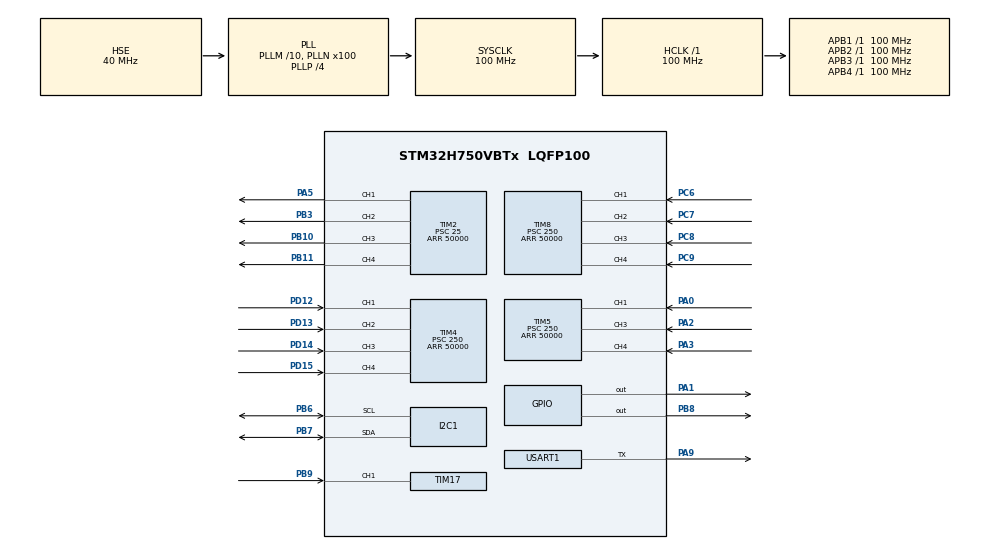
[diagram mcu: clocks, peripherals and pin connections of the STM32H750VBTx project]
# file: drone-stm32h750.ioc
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Dma.I2C1_RX.0.Direction=DMA_PERIPH_TO_MEMORY
Dma.I2C1_RX.0.EventEnable=DISABLE
Dma.I2C1_RX.0.FIFOMode=DMA_FIFOMODE_DISABLE
Dma.I2C1_RX.0.Instance=DMA1_Stream4
Dma.I2C1_RX.0.MemDataAlignment=DMA_MDATAALIGN_BYTE
Dma.I2C1_RX.0.MemInc=DMA_MINC_ENABLE
Dma.I2C1_RX.0.Mode=DMA_NORMAL
Dma.I2C1_RX.0.PeriphDataAlignment=DMA_PDATAALIGN_BYTE
Dma.I2C1_RX.0.PeriphInc=DMA_PINC_DISABLE
Dma.I2C1_RX.0.Polarity=HAL_DMAMUX_REQ_GEN_RISING
Dma.I2C1_RX.0.Priority=DMA_PRIORITY_LOW
Dma.I2C1_RX.0.RequestNumber=1
Dma.I2C1_RX.0.SignalID=NONE
Dma.I2C1_RX.0.SyncEnable=DISABLE
Dma.I2C1_RX.0.SyncPolarity=HAL_DMAMUX_SYNC_NO_EVENT
Dma.I2C1_RX.0.SyncRequestNumber=1
Dma.I2C1_RX.0.SyncSignalID=NONE
Dma.Request0=I2C1_RX
I2C1.Timing=0x10C0ECFF
Mcu.Family=STM32H7
Mcu.Name=STM32H750VBTx
Mcu.Package=LQFP100
NVIC.DMA1_Stream4_IRQn=true\:0\:0\:false\:false\:true\:false\:true\:true
NVIC.I2C1_EV_IRQn=true\:0\:0\:false\:false\:true\:true\:true\:true
NVIC.PriorityGroup=NVIC_PRIORITYGROUP_4
NVIC.TIM17_IRQn=true\:0\:0\:false\:false\:true\:true\:true\:true
NVIC.TIM4_IRQn=true\:1\:0\:true\:false\:true\:true\:true\:true
NVIC.TIM5_IRQn=true\:1\:0\:true\:false\:true\:true\:true\:true
NVIC.TIM6_DAC_IRQn=true\:0\:0\:false\:false\:true\:true\:true\:true
NVIC.TIM7_IRQn=true\:2\:0\:true\:false\:true\:true\:true\:true
NVIC.TIM8_CC_IRQn=true\:0\:0\:false\:false\:true\:true\:true\:true
NVIC.USART1_IRQn=true\:15\:0\:true\:false\:true\:true\:true\:true
PA0.GPIO_Speed=GPIO_SPEED_FREQ_LOW
PA0.Signal=S_TIM5_CH1
PA1.Signal=GPIO_Output
PA2.Signal=S_TIM5_CH3
PA3.Signal=S_TIM5_CH4
PA5.Signal=S_TIM2_CH1_ETR
PA9.Mode=Half_duplex(single_wire_mode)
PA9.Signal=USART1_TX
PB10.Signal=S_TIM2_CH3
PB11.Signal=S_TIM2_CH4
PB3\ (JTDO/TRACESWO).Signal=S_TIM2_CH2
PB6.Mode=I2C
PB6.Signal=I2C1_SCL
PB7.Mode=I2C
PB7.Signal=I2C1_SDA
PB8.Signal=GPIO_Output
PB9.Signal=S_TIM17_CH1
PC6.Signal=S_TIM8_CH1
PC7.Signal=S_TIM8_CH2
PC8.Signal=S_TIM8_CH3
PC9.Signal=S_TIM8_CH4
PD12.GPIO_Speed=GPIO_SPEED_FREQ_LOW
PD12.Signal=S_TIM4_CH1
PD13.GPIO_Speed=GPIO_SPEED_FREQ_LOW
PD13.Signal=S_TIM4_CH2
PD14.GPIO_Speed=GPIO_SPEED_FREQ_LOW
PD14.Signal=S_TIM4_CH3
PD15.GPIO_Speed=GPIO_SPEED_FREQ_LOW
PD15.Signal=S_TIM4_CH4
PH0-OSC_IN\ (PH0).Mode=HSE-External-Oscillator
PH0-OSC_IN\ (PH0).Signal=RCC_OSC_IN
PH1-OSC_OUT\ (PH1).Mode=HSE-External-Oscillator
PH1-OSC_OUT\ (PH1).Signal=RCC_OSC_OUT
ProjectManager.HeapSize=0x200
ProjectManager.StackSize=0x400
ProjectManager.TargetToolchain=STM32CubeIDE
RCC.ADCFreq_Value=200000000
RCC.APB1Freq_Value=100000000
RCC.APB2Freq_Value=100000000
RCC.APB3Freq_Value=100000000
RCC.APB4Freq_Value=100000000
RCC.CortexFreq_Value=100000000
RCC.DIVM1=10
RCC.DIVM2=10
RCC.DIVM3=10
RCC.DIVN1=100
RCC.DIVN2=100
RCC.DIVN3=100
RCC.DIVP1=4
RCC.HCLKFreq_Value=100000000
RCC.HSE_VALUE=40000000
RCC.PLL1_VCO_SEL-AdvancedSettings=RCC_PLL1VCOMEDIUM
RCC.PLLSourceVirtual=RCC_PLLSOURCE_HSE
RCC.PWR_Regulator_Voltage_Scale=PWR_REGULATOR_VOLTAGE_SCALE1
RCC.SYSCLKFreq_VALUE=100000000
RCC.SYSCLKSource=RCC_SYSCLKSOURCE_PLLCLK
RCC.Tim1Mul=1
RCC.Tim2Mul=1
RCC.USART16CLockSelection=RCC_USART16CLKSOURCE_HSI
RCC.USART234578CLockSelection=RCC_USART234578CLKSOURCE_HSI
RCC.USBFreq_Value=200000000
SH.S_TIM17_CH1.0=TIM17_CH1,Input_Capture1_from_TI1
SH.S_TIM2_CH1_ETR.0=TIM2_CH1,PWM Generation1 CH1
SH.S_TIM2_CH2.0=TIM2_CH2,PWM Generation2 CH2
SH.S_TIM2_CH3.0=TIM2_CH3,PWM Generation3 CH3
SH.S_TIM2_CH4.0=TIM2_CH4,PWM Generation4 CH4
SH.S_TIM4_CH1.0=TIM4_CH1,Input_Capture1_from_TI1
SH.S_TIM4_CH2.0=TIM4_CH2,Input_Capture2_from_TI2
SH.S_TIM4_CH3.0=TIM4_CH3,Input_Capture3_from_TI3
SH.S_TIM4_CH4.0=TIM4_CH4,Input_Capture4_from_TI4
SH.S_TIM5_CH1.0=TIM5_CH1,Input_Capture1_from_TI1
SH.S_TIM5_CH3.0=TIM5_CH3,Input_Capture3_from_TI3
SH.S_TIM5_CH4.0=TIM5_CH4,Input_Capture4_from_TI4
SH.S_TIM8_CH1.0=TIM8_CH1,Input_Capture1_from_TI1
SH.S_TIM8_CH2.0=TIM8_CH2,Input_Capture2_from_TI2
SH.S_TIM8_CH3.0=TIM8_CH3,Input_Capture3_from_TI3
SH.S_TIM8_CH4.0=TIM8_CH4,Input_Capture4_from_TI4
TIM17.Channel=TIM_CHANNEL_1
TIM17.ICPolarity_CH1=TIM_INPUTCHANNELPOLARITY_BOTHEDGE
TIM17.Period=50000
TIM17.Prescaler=250
TIM2.Channel-PWM\ Generation1\ CH1=TIM_CHANNEL_1
TIM2.Channel-PWM\ Generation2\ CH2=TIM_CHANNEL_2
TIM2.Channel-PWM\ Generation3\ CH3=TIM_CHANNEL_3
TIM2.Channel-PWM\ Generation4\ CH4=TIM_CHANNEL_4
TIM2.Period=50000
TIM2.Prescaler=25
TIM4.Channel-Input_Capture1_from_TI1=TIM_CHANNEL_1
TIM4.Channel-Input_Capture2_from_TI2=TIM_CHANNEL_2
TIM4.Channel-Input_Capture3_from_TI3=TIM_CHANNEL_3
TIM4.Channel-Input_Capture4_from_TI4=TIM_CHANNEL_4
TIM4.ICPolarity_CH1=TIM_INPUTCHANNELPOLARITY_BOTHEDGE
TIM4.ICPolarity_CH2=TIM_INPUTCHANNELPOLARITY_BOTHEDGE
TIM4.ICPolarity_CH3=TIM_INPUTCHANNELPOLARITY_BOTHEDGE
TIM4.ICPolarity_CH4=TIM_INPUTCHANNELPOLARITY_BOTHEDGE
TIM4.Period=50000
TIM4.Prescaler=250
TIM5.Channel-Input_Capture1_from_TI1=TIM_CHANNEL_1
TIM5.Channel-Input_Capture3_from_TI3=TIM_CHANNEL_3
TIM5.Channel-Input_Capture4_from_TI4=TIM_CHANNEL_4
TIM5.ICPolarity_CH1=TIM_INPUTCHANNELPOLARITY_BOTHEDGE
TIM5.ICPolarity_CH3=TIM_INPUTCHANNELPOLARITY_BOTHEDGE
TIM5.ICPolarity_CH4=TIM_INPUTCHANNELPOLARITY_BOTHEDGE
TIM5.Period=50000
TIM5.Prescaler=250
TIM6.Period=1000
TIM6.Prescaler=250
TIM7.Period=5000
TIM7.Prescaler=1000
TIM8.Channel-Input_Capture1_from_TI1=TIM_CHANNEL_1
TIM8.Channel-Input_Capture2_from_TI2=TIM_CHANNEL_2
TIM8.Channel-Input_Capture3_from_TI3=TIM_CHANNEL_3
TIM8.Channel-Input_Capture4_from_TI4=TIM_CHANNEL_4
TIM8.ICPolarity_CH1=TIM_INPUTCHANNELPOLARITY_BOTHEDGE
TIM8.ICPolarity_CH2=TIM_INPUTCHANNELPOLARITY_BOTHEDGE
TIM8.ICPolarity_CH3=TIM_INPUTCHANNELPOLARITY_BOTHEDGE
TIM8.ICPolarity_CH4=TIM_INPUTCHANNELPOLARITY_BOTHEDGE
TIM8.Period=50000
TIM8.Prescaler=250
USART1.BaudRate=9600
USART1.Mode=MODE_TX
USART1.OverSampling=UART_OVERSAMPLING_16
USART1.VirtualMode-Half_duplex(single_wire_mode)=VM_ASYNC
VP_TIM17_VS_ClockSourceINT.Mode=Enable_Timer
VP_TIM2_VS_ClockSourceINT.Mode=Internal
VP_TIM4_VS_ClockSourceINT.Mode=Internal
VP_TIM5_VS_ClockSourceINT.Mode=Internal
VP_TIM6_VS_ClockSourceINT.Mode=Enable_Timer
VP_TIM7_VS_ClockSourceINT.Mode=Enable_Timer
VP_TIM8_VS_ClockSourceINT.Mode=Internal
board=custom

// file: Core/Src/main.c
/* USER CODE BEGIN Header */
/**
  ******************************************************************************
  * @file           : main.c
  * @brief          : Main program body
  ******************************************************************************
  * @attention
  *
  * <h2><center>&copy; Copyright (c) 2022 STMicroelectronics.
  * All rights reserved.</center></h2>
  *
  * This software component is licensed by ST under BSD 3-Clause license,
  * the "License"; You may not use this file except in compliance with the
  * License. You may obtain a copy of the License at:
  *                        opensource.org/licenses/BSD-3-Clause
  *
  ******************************************************************************
  */
/* USER CODE END Header */
#include "main.h"
/* USER CODE BEGIN Includes */
#include <stdio.h>
#include <storage.h>
#include <string.h>
#include "kalman.h"
#include "gy86.h"

/* USER CODE END Includes */

I2C_HandleTypeDef hi2c1;
DMA_HandleTypeDef hdma_i2c1_rx;

TIM_HandleTypeDef htim2;
TIM_HandleTypeDef htim4;
TIM_HandleTypeDef htim5;
TIM_HandleTypeDef htim6;
TIM_HandleTypeDef htim7;
TIM_HandleTypeDef htim8;
TIM_HandleTypeDef htim17;

UART_HandleTypeDef huart1;

void SystemClock_Config(void);
static void MX_GPIO_Init(void);
static void MX_I2C1_Init(void);
static void MX_USART1_UART_Init(void);
static void MX_TIM6_Init(void);
static void MX_TIM2_Init(void);
static void MX_TIM4_Init(void);
static void MX_TIM5_Init(void);
static void MX_TIM7_Init(void);
static void MX_DMA_Init(void);
static void MX_TIM17_Init(void);
static void MX_TIM8_Init(void);

/* USER CODE BEGIN 0 */

void flash(uint8_t count) {
  for (int i = 0; i < count; i++) {
    HAL_GPIO_TogglePin(GPIOA, GPIO_PIN_1);
    HAL_Delay(50);
    HAL_GPIO_TogglePin(GPIOA, GPIO_PIN_1);
    HAL_Delay(50);
  }

  HAL_Delay(100);
}

extern void init_filters();
extern void init_sensors();

/* USER CODE END 0 */

int main(void)
{

  /* MCU Configuration--------------------------------------------------------*/

  /* Reset of all peripherals, Initializes the Flash interface and the Systick. */
  HAL_Init();

  /* Configure the system clock */
  SystemClock_Config();

  /* Initialize all configured peripherals */
  MX_GPIO_Init();
  MX_TIM6_Init();
  MX_TIM2_Init();
  MX_TIM4_Init();
  MX_TIM5_Init();
  MX_TIM7_Init();
  MX_TIM8_Init();
  MX_TIM17_Init();
  MX_DMA_Init();
  MX_I2C1_Init();
  MX_USART1_UART_Init();
  /* USER CODE BEGIN 2 */

  // Turn off led
  HAL_GPIO_WritePin(GPIOA, GPIO_PIN_1, RESET);
  flash(5);

  // Initialise filters for remote control
  init_filters();

  // Init sensors
  init_sensors();

  flash(5);

  // For remote control input capture
  HAL_TIM_IC_Start_IT(&htim4, TIM_CHANNEL_1);
  HAL_TIM_IC_Start_IT(&htim4, TIM_CHANNEL_2);
  HAL_TIM_IC_Start_IT(&htim4, TIM_CHANNEL_3);
  HAL_TIM_IC_Start_IT(&htim4, TIM_CHANNEL_4);
  HAL_TIM_IC_Start_IT(&htim5, TIM_CHANNEL_1);

  // For ranging sensor
  HAL_TIM_IC_Start_IT(&htim17, TIM_CHANNEL_1);

  // For drifting detection outputs
  HAL_TIM_IC_Start_IT(&htim5, TIM_CHANNEL_3);
  HAL_TIM_IC_Start_IT(&htim5, TIM_CHANNEL_4);
  HAL_TIM_IC_Start_IT(&htim8, TIM_CHANNEL_1);
  HAL_TIM_IC_Start_IT(&htim8, TIM_CHANNEL_2);
  HAL_TIM_IC_Start_IT(&htim8, TIM_CHANNEL_3);
  HAL_TIM_IC_Start_IT(&htim8, TIM_CHANNEL_4);

  // For motor PWM
  HAL_TIM_PWM_Start(&htim2, TIM_CHANNEL_1);
  HAL_TIM_PWM_Start(&htim2, TIM_CHANNEL_2);
  HAL_TIM_PWM_Start(&htim2, TIM_CHANNEL_3);
  HAL_TIM_PWM_Start(&htim2, TIM_CHANNEL_4);

  // PID timer
  HAL_TIM_Base_Start_IT(&htim6);

  // Monitor timer
  HAL_TIM_Base_Start_IT(&htim7);

  // Call receive in circlar mode, don't have to repeat the call to activate callback
  // HAL_UART_Receive_DMA(&huart2, g_uart_rx_buffer1, UART_BUF_SIZE);

  /* USER CODE END 2 */

  /* Infinite loop */
  while (1)
  {

  }
}

void SystemClock_Config(void)
{
  RCC_OscInitTypeDef RCC_OscInitStruct = {0};
  RCC_ClkInitTypeDef RCC_ClkInitStruct = {0};

  /** Supply configuration update enable
  */
  HAL_PWREx_ConfigSupply(PWR_LDO_SUPPLY);

  /** Configure the main internal regulator output voltage
  */
  __HAL_PWR_VOLTAGESCALING_CONFIG(PWR_REGULATOR_VOLTAGE_SCALE1);

  while(!__HAL_PWR_GET_FLAG(PWR_FLAG_VOSRDY)) {}

  /** Initializes the RCC Oscillators according to the specified parameters
  * in the RCC_OscInitTypeDef structure.
  */
  RCC_OscInitStruct.OscillatorType = RCC_OSCILLATORTYPE_HSI|RCC_OSCILLATORTYPE_HSE;
  RCC_OscInitStruct.HSEState = RCC_HSE_ON;
  RCC_OscInitStruct.HSIState = RCC_HSI_DIV1;
  RCC_OscInitStruct.HSICalibrationValue = RCC_HSICALIBRATION_DEFAULT;
  RCC_OscInitStruct.PLL.PLLState = RCC_PLL_ON;
  RCC_OscInitStruct.PLL.PLLSource = RCC_PLLSOURCE_HSE;
  RCC_OscInitStruct.PLL.PLLM = 10;
  RCC_OscInitStruct.PLL.PLLN = 100;
  RCC_OscInitStruct.PLL.PLLP = 4;
  RCC_OscInitStruct.PLL.PLLQ = 2;
  RCC_OscInitStruct.PLL.PLLR = 2;
  RCC_OscInitStruct.PLL.PLLRGE = RCC_PLL1VCIRANGE_2;
  RCC_OscInitStruct.PLL.PLLVCOSEL = RCC_PLL1VCOMEDIUM;
  RCC_OscInitStruct.PLL.PLLFRACN = 0;
  if (HAL_RCC_OscConfig(&RCC_OscInitStruct) != HAL_OK)
  {
    Error_Handler();
  }

  /** Initializes the CPU, AHB and APB buses clocks
  */
  RCC_ClkInitStruct.ClockType = RCC_CLOCKTYPE_HCLK|RCC_CLOCKTYPE_SYSCLK
                              |RCC_CLOCKTYPE_PCLK1|RCC_CLOCKTYPE_PCLK2
                              |RCC_CLOCKTYPE_D3PCLK1|RCC_CLOCKTYPE_D1PCLK1;
  RCC_ClkInitStruct.SYSCLKSource = RCC_SYSCLKSOURCE_PLLCLK;
  RCC_ClkInitStruct.SYSCLKDivider = RCC_SYSCLK_DIV1;
  RCC_ClkInitStruct.AHBCLKDivider = RCC_HCLK_DIV1;
  RCC_ClkInitStruct.APB3CLKDivider = RCC_APB3_DIV1;
  RCC_ClkInitStruct.APB1CLKDivider = RCC_APB1_DIV1;
  RCC_ClkInitStruct.APB2CLKDivider = RCC_APB2_DIV1;
  RCC_ClkInitStruct.APB4CLKDivider = RCC_APB4_DIV1;

  if (HAL_RCC_ClockConfig(&RCC_ClkInitStruct, FLASH_LATENCY_1) != HAL_OK)
  {
    Error_Handler();
  }
}

static void MX_I2C1_Init(void)
{

  hi2c1.Instance = I2C1;
  hi2c1.Init.Timing = 0x10C0ECFF;
  hi2c1.Init.OwnAddress1 = 0;
  hi2c1.Init.AddressingMode = I2C_ADDRESSINGMODE_7BIT;
  hi2c1.Init.DualAddressMode = I2C_DUALADDRESS_DISABLE;
  hi2c1.Init.OwnAddress2 = 0;
  hi2c1.Init.OwnAddress2Masks = I2C_OA2_NOMASK;
  hi2c1.Init.GeneralCallMode = I2C_GENERALCALL_DISABLE;
  hi2c1.Init.NoStretchMode = I2C_NOSTRETCH_DISABLE;
  if (HAL_I2C_Init(&hi2c1) != HAL_OK)
  {
    Error_Handler();
  }

  /** Configure Analogue filter
  */
  if (HAL_I2CEx_ConfigAnalogFilter(&hi2c1, I2C_ANALOGFILTER_ENABLE) != HAL_OK)
  {
    Error_Handler();
  }

  /** Configure Digital filter
  */
  if (HAL_I2CEx_ConfigDigitalFilter(&hi2c1, 0) != HAL_OK)
  {
    Error_Handler();
  }

}

static void MX_TIM2_Init(void)
{

  TIM_ClockConfigTypeDef sClockSourceConfig = {0};
  TIM_MasterConfigTypeDef sMasterConfig = {0};
  TIM_OC_InitTypeDef sConfigOC = {0};

  htim2.Instance = TIM2;
  htim2.Init.Prescaler = 25;
  htim2.Init.CounterMode = TIM_COUNTERMODE_UP;
  htim2.Init.Period = 50000;
  htim2.Init.ClockDivision = TIM_CLOCKDIVISION_DIV1;
  htim2.Init.AutoReloadPreload = TIM_AUTORELOAD_PRELOAD_DISABLE;
  if (HAL_TIM_Base_Init(&htim2) != HAL_OK)
  {
    Error_Handler();
  }
  sClockSourceConfig.ClockSource = TIM_CLOCKSOURCE_INTERNAL;
  if (HAL_TIM_ConfigClockSource(&htim2, &sClockSourceConfig) != HAL_OK)
  {
    Error_Handler();
  }
  if (HAL_TIM_PWM_Init(&htim2) != HAL_OK)
  {
    Error_Handler();
  }
  sMasterConfig.MasterOutputTrigger = TIM_TRGO_RESET;
  sMasterConfig.MasterSlaveMode = TIM_MASTERSLAVEMODE_DISABLE;
  if (HAL_TIMEx_MasterConfigSynchronization(&htim2, &sMasterConfig) != HAL_OK)
  {
    Error_Handler();
  }
  sConfigOC.OCMode = TIM_OCMODE_PWM1;
  sConfigOC.Pulse = 0;
  sConfigOC.OCPolarity = TIM_OCPOLARITY_HIGH;
  sConfigOC.OCFastMode = TIM_OCFAST_DISABLE;
  if (HAL_TIM_PWM_ConfigChannel(&htim2, &sConfigOC, TIM_CHANNEL_1) != HAL_OK)
  {
    Error_Handler();
  }
  if (HAL_TIM_PWM_ConfigChannel(&htim2, &sConfigOC, TIM_CHANNEL_2) != HAL_OK)
  {
    Error_Handler();
  }
  if (HAL_TIM_PWM_ConfigChannel(&htim2, &sConfigOC, TIM_CHANNEL_3) != HAL_OK)
  {
    Error_Handler();
  }
  if (HAL_TIM_PWM_ConfigChannel(&htim2, &sConfigOC, TIM_CHANNEL_4) != HAL_OK)
  {
    Error_Handler();
  }
  HAL_TIM_MspPostInit(&htim2);

}

static void MX_TIM4_Init(void)
{

  TIM_ClockConfigTypeDef sClockSourceConfig = {0};
  TIM_MasterConfigTypeDef sMasterConfig = {0};
  TIM_IC_InitTypeDef sConfigIC = {0};

  htim4.Instance = TIM4;
  htim4.Init.Prescaler = 250;
  htim4.Init.CounterMode = TIM_COUNTERMODE_UP;
  htim4.Init.Period = 50000;
  htim4.Init.ClockDivision = TIM_CLOCKDIVISION_DIV1;
  htim4.Init.AutoReloadPreload = TIM_AUTORELOAD_PRELOAD_DISABLE;
  if (HAL_TIM_Base_Init(&htim4) != HAL_OK)
  {
    Error_Handler();
  }
  sClockSourceConfig.ClockSource = TIM_CLOCKSOURCE_INTERNAL;
  if (HAL_TIM_ConfigClockSource(&htim4, &sClockSourceConfig) != HAL_OK)
  {
    Error_Handler();
  }
  if (HAL_TIM_IC_Init(&htim4) != HAL_OK)
  {
    Error_Handler();
  }
  sMasterConfig.MasterOutputTrigger = TIM_TRGO_RESET;
  sMasterConfig.MasterSlaveMode = TIM_MASTERSLAVEMODE_DISABLE;
  if (HAL_TIMEx_MasterConfigSynchronization(&htim4, &sMasterConfig) != HAL_OK)
  {
    Error_Handler();
  }
  sConfigIC.ICPolarity = TIM_INPUTCHANNELPOLARITY_BOTHEDGE;
  sConfigIC.ICSelection = TIM_ICSELECTION_DIRECTTI;
  sConfigIC.ICPrescaler = TIM_ICPSC_DIV1;
  sConfigIC.ICFilter = 0;
  if (HAL_TIM_IC_ConfigChannel(&htim4, &sConfigIC, TIM_CHANNEL_1) != HAL_OK)
  {
    Error_Handler();
  }
  if (HAL_TIM_IC_ConfigChannel(&htim4, &sConfigIC, TIM_CHANNEL_2) != HAL_OK)
  {
    Error_Handler();
  }
  if (HAL_TIM_IC_ConfigChannel(&htim4, &sConfigIC, TIM_CHANNEL_3) != HAL_OK)
  {
    Error_Handler();
  }
  if (HAL_TIM_IC_ConfigChannel(&htim4, &sConfigIC, TIM_CHANNEL_4) != HAL_OK)
  {
    Error_Handler();
  }

}

static void MX_TIM5_Init(void)
{

  TIM_ClockConfigTypeDef sClockSourceConfig = {0};
  TIM_MasterConfigTypeDef sMasterConfig = {0};
  TIM_IC_InitTypeDef sConfigIC = {0};

  htim5.Instance = TIM5;
  htim5.Init.Prescaler = 250;
  htim5.Init.CounterMode = TIM_COUNTERMODE_UP;
  htim5.Init.Period = 50000;
  htim5.Init.ClockDivision = TIM_CLOCKDIVISION_DIV1;
  htim5.Init.AutoReloadPreload = TIM_AUTORELOAD_PRELOAD_DISABLE;
  if (HAL_TIM_Base_Init(&htim5) != HAL_OK)
  {
    Error_Handler();
  }
  sClockSourceConfig.ClockSource = TIM_CLOCKSOURCE_INTERNAL;
  if (HAL_TIM_ConfigClockSource(&htim5, &sClockSourceConfig) != HAL_OK)
  {
    Error_Handler();
  }
  if (HAL_TIM_IC_Init(&htim5) != HAL_OK)
  {
    Error_Handler();
  }
  sMasterConfig.MasterOutputTrigger = TIM_TRGO_RESET;
  sMasterConfig.MasterSlaveMode = TIM_MASTERSLAVEMODE_DISABLE;
  if (HAL_TIMEx_MasterConfigSynchronization(&htim5, &sMasterConfig) != HAL_OK)
  {
    Error_Handler();
  }
  sConfigIC.ICPolarity = TIM_INPUTCHANNELPOLARITY_BOTHEDGE;
  sConfigIC.ICSelection = TIM_ICSELECTION_DIRECTTI;
  sConfigIC.ICPrescaler = TIM_ICPSC_DIV1;
  sConfigIC.ICFilter = 0;
  if (HAL_TIM_IC_ConfigChannel(&htim5, &sConfigIC, TIM_CHANNEL_1) != HAL_OK)
  {
    Error_Handler();
  }
  if (HAL_TIM_IC_ConfigChannel(&htim5, &sConfigIC, TIM_CHANNEL_3) != HAL_OK)
  {
    Error_Handler();
  }
  if (HAL_TIM_IC_ConfigChannel(&htim5, &sConfigIC, TIM_CHANNEL_4) != HAL_OK)
  {
    Error_Handler();
  }

}

static void MX_TIM6_Init(void)
{

  TIM_MasterConfigTypeDef sMasterConfig = {0};

  htim6.Instance = TIM6;
  htim6.Init.Prescaler = 250;
  htim6.Init.CounterMode = TIM_COUNTERMODE_UP;
  htim6.Init.Period = 1000;
  htim6.Init.AutoReloadPreload = TIM_AUTORELOAD_PRELOAD_DISABLE;
  if (HAL_TIM_Base_Init(&htim6) != HAL_OK)
  {
    Error_Handler();
  }
  sMasterConfig.MasterOutputTrigger = TIM_TRGO_RESET;
  sMasterConfig.MasterSlaveMode = TIM_MASTERSLAVEMODE_DISABLE;
  if (HAL_TIMEx_MasterConfigSynchronization(&htim6, &sMasterConfig) != HAL_OK)
  {
    Error_Handler();
  }

}

static void MX_TIM7_Init(void)
{

  TIM_MasterConfigTypeDef sMasterConfig = {0};

  htim7.Instance = TIM7;
  htim7.Init.Prescaler = 1000;
  htim7.Init.CounterMode = TIM_COUNTERMODE_UP;
  htim7.Init.Period = 5000;
  htim7.Init.AutoReloadPreload = TIM_AUTORELOAD_PRELOAD_DISABLE;
  if (HAL_TIM_Base_Init(&htim7) != HAL_OK)
  {
    Error_Handler();
  }
  sMasterConfig.MasterOutputTrigger = TIM_TRGO_RESET;
  sMasterConfig.MasterSlaveMode = TIM_MASTERSLAVEMODE_DISABLE;
  if (HAL_TIMEx_MasterConfigSynchronization(&htim7, &sMasterConfig) != HAL_OK)
  {
    Error_Handler();
  }

}

static void MX_TIM8_Init(void)
{

  TIM_ClockConfigTypeDef sClockSourceConfig = {0};
  TIM_MasterConfigTypeDef sMasterConfig = {0};
  TIM_IC_InitTypeDef sConfigIC = {0};

  htim8.Instance = TIM8;
  htim8.Init.Prescaler = 250;
  htim8.Init.CounterMode = TIM_COUNTERMODE_UP;
  htim8.Init.Period = 50000;
  htim8.Init.ClockDivision = TIM_CLOCKDIVISION_DIV1;
  htim8.Init.RepetitionCounter = 0;
  htim8.Init.AutoReloadPreload = TIM_AUTORELOAD_PRELOAD_DISABLE;
  if (HAL_TIM_Base_Init(&htim8) != HAL_OK)
  {
    Error_Handler();
  }
  sClockSourceConfig.ClockSource = TIM_CLOCKSOURCE_INTERNAL;
  if (HAL_TIM_ConfigClockSource(&htim8, &sClockSourceConfig) != HAL_OK)
  {
    Error_Handler();
  }
  if (HAL_TIM_IC_Init(&htim8) != HAL_OK)
  {
    Error_Handler();
  }
  sMasterConfig.MasterOutputTrigger = TIM_TRGO_RESET;
  sMasterConfig.MasterOutputTrigger2 = TIM_TRGO2_RESET;
  sMasterConfig.MasterSlaveMode = TIM_MASTERSLAVEMODE_DISABLE;
  if (HAL_TIMEx_MasterConfigSynchronization(&htim8, &sMasterConfig) != HAL_OK)
  {
    Error_Handler();
  }
  sConfigIC.ICPolarity = TIM_INPUTCHANNELPOLARITY_BOTHEDGE;
  sConfigIC.ICSelection = TIM_ICSELECTION_DIRECTTI;
  sConfigIC.ICPrescaler = TIM_ICPSC_DIV1;
  sConfigIC.ICFilter = 0;
  if (HAL_TIM_IC_ConfigChannel(&htim8, &sConfigIC, TIM_CHANNEL_1) != HAL_OK)
  {
    Error_Handler();
  }
  if (HAL_TIM_IC_ConfigChannel(&htim8, &sConfigIC, TIM_CHANNEL_2) != HAL_OK)
  {
    Error_Handler();
  }
  if (HAL_TIM_IC_ConfigChannel(&htim8, &sConfigIC, TIM_CHANNEL_3) != HAL_OK)
  {
    Error_Handler();
  }
  if (HAL_TIM_IC_ConfigChannel(&htim8, &sConfigIC, TIM_CHANNEL_4) != HAL_OK)
  {
    Error_Handler();
  }

}

static void MX_TIM17_Init(void)
{

  TIM_IC_InitTypeDef sConfigIC = {0};

  htim17.Instance = TIM17;
  htim17.Init.Prescaler = 250;
  htim17.Init.CounterMode = TIM_COUNTERMODE_UP;
  htim17.Init.Period = 50000;
  htim17.Init.ClockDivision = TIM_CLOCKDIVISION_DIV1;
  htim17.Init.RepetitionCounter = 0;
  htim17.Init.AutoReloadPreload = TIM_AUTORELOAD_PRELOAD_DISABLE;
  if (HAL_TIM_Base_Init(&htim17) != HAL_OK)
  {
    Error_Handler();
  }
  if (HAL_TIM_IC_Init(&htim17) != HAL_OK)
  {
    Error_Handler();
  }
  sConfigIC.ICPolarity = TIM_INPUTCHANNELPOLARITY_BOTHEDGE;
  sConfigIC.ICSelection = TIM_ICSELECTION_DIRECTTI;
  sConfigIC.ICPrescaler = TIM_ICPSC_DIV1;
  sConfigIC.ICFilter = 0;
  if (HAL_TIM_IC_ConfigChannel(&htim17, &sConfigIC, TIM_CHANNEL_1) != HAL_OK)
  {
    Error_Handler();
  }

}

static void MX_USART1_UART_Init(void)
{

  huart1.Instance = USART1;
  huart1.Init.BaudRate = 9600;
  huart1.Init.WordLength = UART_WORDLENGTH_8B;
  huart1.Init.StopBits = UART_STOPBITS_1;
  huart1.Init.Parity = UART_PARITY_NONE;
  huart1.Init.Mode = UART_MODE_TX;
  huart1.Init.HwFlowCtl = UART_HWCONTROL_NONE;
  huart1.Init.OverSampling = UART_OVERSAMPLING_16;
  huart1.Init.OneBitSampling = UART_ONE_BIT_SAMPLE_DISABLE;
  huart1.Init.ClockPrescaler = UART_PRESCALER_DIV1;
  huart1.AdvancedInit.AdvFeatureInit = UART_ADVFEATURE_NO_INIT;
  if (HAL_HalfDuplex_Init(&huart1) != HAL_OK)
  {
    Error_Handler();
  }
  if (HAL_UARTEx_SetTxFifoThreshold(&huart1, UART_TXFIFO_THRESHOLD_1_8) != HAL_OK)
  {
    Error_Handler();
  }
  if (HAL_UARTEx_SetRxFifoThreshold(&huart1, UART_RXFIFO_THRESHOLD_1_8) != HAL_OK)
  {
    Error_Handler();
  }
  if (HAL_UARTEx_DisableFifoMode(&huart1) != HAL_OK)
  {
    Error_Handler();
  }

}

static void MX_DMA_Init(void)
{

  /* DMA controller clock enable */
  __HAL_RCC_DMA1_CLK_ENABLE();

  /* DMA interrupt init */
  /* DMA1_Stream4_IRQn interrupt configuration */
  HAL_NVIC_SetPriority(DMA1_Stream4_IRQn, 0, 0);
  HAL_NVIC_EnableIRQ(DMA1_Stream4_IRQn);

}

static void MX_GPIO_Init(void)
{
  GPIO_InitTypeDef GPIO_InitStruct = {0};

  /* GPIO Ports Clock Enable */
  __HAL_RCC_GPIOH_CLK_ENABLE();
  __HAL_RCC_GPIOA_CLK_ENABLE();
  __HAL_RCC_GPIOB_CLK_ENABLE();
  __HAL_RCC_GPIOD_CLK_ENABLE();
  __HAL_RCC_GPIOC_CLK_ENABLE();

  /*Configure GPIO pin Output Level */
  HAL_GPIO_WritePin(GPIOA, GPIO_PIN_1, GPIO_PIN_RESET);

  /*Configure GPIO pin Output Level */
  HAL_GPIO_WritePin(GPIOB, GPIO_PIN_8, GPIO_PIN_RESET);

  /*Configure GPIO pin : PA1 */
  GPIO_InitStruct.Pin = GPIO_PIN_1;
  GPIO_InitStruct.Mode = GPIO_MODE_OUTPUT_PP;
  GPIO_InitStruct.Pull = GPIO_NOPULL;
  GPIO_InitStruct.Speed = GPIO_SPEED_FREQ_LOW;
  HAL_GPIO_Init(GPIOA, &GPIO_InitStruct);

  /*Configure GPIO pin : PB8 */
  GPIO_InitStruct.Pin = GPIO_PIN_8;
  GPIO_InitStruct.Mode = GPIO_MODE_OUTPUT_PP;
  GPIO_InitStruct.Pull = GPIO_NOPULL;
  GPIO_InitStruct.Speed = GPIO_SPEED_FREQ_LOW;
  HAL_GPIO_Init(GPIOB, &GPIO_InitStruct);

}

void Error_Handler(void)
{
  __disable_irq();
  while (1)
  {
  }
}
